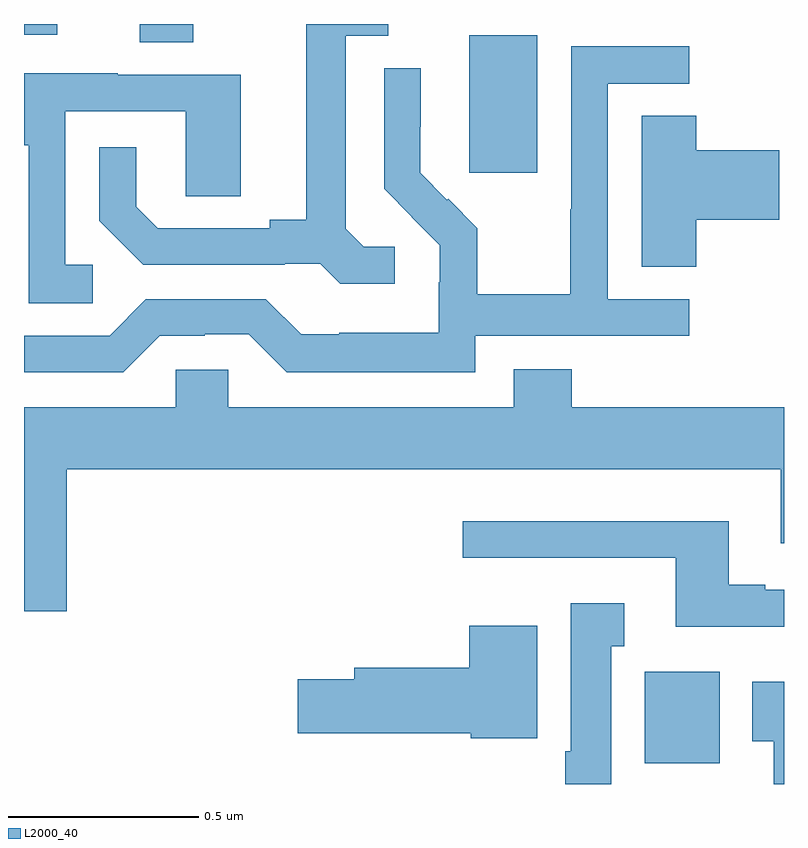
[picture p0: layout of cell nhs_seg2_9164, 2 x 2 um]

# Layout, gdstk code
import gdstk
lib = gdstk.Library(unit=1e-6, precision=1e-09)
def R(c, l, rs):  # rectangles x0, y0, x1, y1
    for r in rs: c.add(gdstk.rectangle(r[:2], r[2:], *l))
def P(c, l, *ps):  # polygons
    for p in ps: c.add(gdstk.Polygon(p, *l))
L2000_40 = (2000, 40)

nhs_seg2_9164 = lib.new_cell('nhs_seg2_9164')
R(nhs_seg2_9164, L2000_40, [(226.634,654.854,226.831,655.096), (226.172,656.409,226.351,656.77), (225.305,656.752,225.445,656.8), (225,656.772,225.088,656.8)])
P(nhs_seg2_9164, L2000_40, [(225.976,656.214),(225.894,656.214),(225.847,656.261),(225.847,656.769),(225.958,656.769),(225.958,656.8),(225.743,656.8),(225.743,656.285),(225.647,656.285),(225.647,656.262),(225.352,656.262),(225.295,656.319),(225.295,656.476),(225.198,656.476),(225.198,656.282),(225.314,656.166),(225.686,656.166),(225.686,656.169),(225.78,656.169),(225.832,656.117),(225.976,656.117)],
  [(226.188,655.98),(226.75,655.98),(226.75,656.076),(226.536,656.076),(226.536,656.643),(226.75,656.643),(226.75,656.742),(226.44,656.742),(226.44,656.312),(226.438,656.312),(226.438,656.089),(226.193,656.089),(226.193,656.263),(226.116,656.34),(226.113,656.337),(226.043,656.408),(226.043,656.53),(226.044,656.53),(226.044,656.684),(225.948,656.684),(225.948,656.366),(226.021,656.293),(226.02,656.292),(226.094,656.218),(226.094,656.121),(226.092,656.121),(226.092,655.987),(225.829,655.987),(225.829,655.983),(225.729,655.983),(225.636,656.076),(225.321,656.076),(225.225,655.98),(225,655.98),(225,655.884),(225.261,655.884),(225.357,655.98),(225.476,655.98),(225.476,655.983),(225.591,655.983),(225.691,655.883),(226.188,655.883)],
  [(225.181,656.166),(225.108,656.166),(225.108,656.571),(225.426,656.571),(225.426,656.347),(225.571,656.347),(225.571,656.667),(225.247,656.667),(225.247,656.671),(225,656.671),(225,656.481),(225.012,656.481),(225.012,656.065),(225.181,656.065)],
  [(226.769,656.285),(226.987,656.285),(226.987,656.468),(226.769,656.468),(226.769,656.558),(226.625,656.558),(226.625,656.161),(226.769,656.161)],
  [(225.112,655.628),(226.991,655.628),(226.991,655.434),(227,655.434),(227,655.792),(226.442,655.792),(226.442,655.891),(226.289,655.891),(226.289,655.792),(225.537,655.792),(225.537,655.89),(225.399,655.89),(225.399,655.792),(225,655.792),(225,655.254),(225.112,655.254)],
  [(227,655.311),(226.951,655.311),(226.951,655.324),(226.855,655.324),(226.855,655.492),(226.155,655.492),(226.155,655.395),(226.715,655.395),(226.715,655.214),(227,655.214)],
  [(226.546,655.163),(226.579,655.163),(226.579,655.276),(226.439,655.276),(226.439,654.886),(226.424,654.886),(226.424,654.8),(226.546,654.8)],
  [(226.351,655.216),(226.172,655.216),(226.172,655.106),(225.869,655.106),(225.869,655.076),(225.72,655.076),(225.72,654.934),(226.176,654.934),(226.176,654.92),(226.351,654.92)],
  [(227,655.069),(226.916,655.069),(226.916,654.913),(226.973,654.913),(226.973,654.8),(227,654.8)])

lib.write_gds('nhs_seg2_9164.gds')
